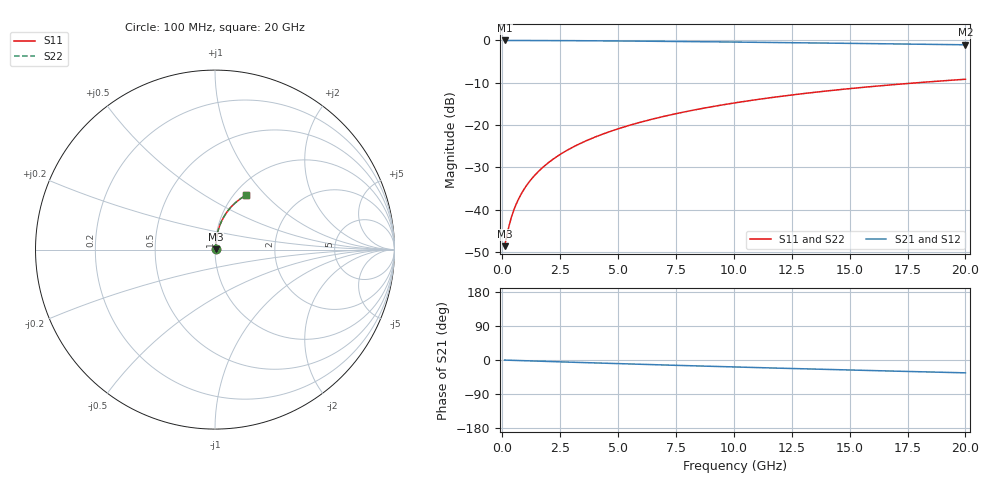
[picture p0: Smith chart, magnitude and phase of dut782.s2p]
! Touchstone file exported from HFSS 2024.1.0
!  File:  C:/UserFiles/LocalFiles/RDL_TSV_Batchsim/temp_RDL_bottom_782_1779861136.aedt
!  Generated:  01:54:34 PM May 27, 2026
!  Design:  RDL_bottom
!  Project:  temp_RDL_bottom_782_1779861136
!  Setup:  Setup1
!  Solution:  Sweep
! Variables:
!  dtsv = 10.80580581um
!  hbump = 3um
!  htsv = 61.7um
!  ldown = 472.21um
!  lrdl = 100um
!  p = 40
!  p1 = 41.69um
!  rhole = 1um
!  t = 450um
!  tdown = 3.41um
!  trdl = 3.915915916um
!  wdown = 16.3um
!  wrdl = 20um
# GHz S MA R 50.000000
! Terminal data exported
! Port[1] = RDL1_T1
! Port[2] = RDL1_T2
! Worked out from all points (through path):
!   200 points, 100 MHz to 20 GHz, reference 50 ohm
!   highest |S21| = -0.03 dB at 100 MHz (marker M1); lowest = -1.1 dB at 20 GHz (marker M2)
!   group delay of S21, straight-line fit = 4.69 ps
!   lowest |S11| = -48.6 dB at 100 MHz (marker M3), VSWR 1.01, Z = 50.3 + j0.194 ohm
!   |S11| at or under -10 dB: start of sweep to 17.96 GHz
!   |S22| runs from -48.6 to -9.2 dB; largest |S21 - S12| = 3.5e-15
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0.1  0.003698 31.3  0.9968 -0.2  0.9968 -0.2  0.003698 31.3
! Gamma 0 0 0 0
! Port Impedance 50 0 50 0
0.2  0.00501 49.5  0.9967 -0.4  0.9967 -0.4  0.00501 49.5
0.3  0.00658 59.2  0.9966 -0.6  0.9966 -0.6  0.00658 59.2
0.4  0.00823 64.9  0.9965 -0.8  0.9965 -0.8  0.00823 64.9
0.5  0.009907 68.6  0.9963 -1.0  0.9963 -1.0  0.009907 68.6
0.6  0.0116 71.3  0.9962 -1.2  0.9962 -1.2  0.0116 71.3
0.8  0.01501 74.9  0.9959 -1.6  0.9959 -1.6  0.01501 74.9
1.1  0.02019 78.1  0.9955 -2.2  0.9955 -2.2  0.02019 78.1
1.3  0.02367 79.4  0.9952 -2.6  0.9952 -2.6  0.02367 79.4
1.6  0.02894 80.7  0.9947 -3.1  0.9947 -3.1  0.02894 80.7
2.1  0.03778 81.8  0.9937 -4.1  0.9937 -4.1  0.03778 81.8
2.7  0.04847 82.4  0.9921 -5.3  0.9921 -5.3  0.04847 82.4
3.5  0.06284 82.5  0.9895 -6.8  0.9895 -6.8  0.06284 82.5
4.2  0.07551 82.2  0.9868 -8.1  0.9868 -8.1  0.07551 82.2
5  0.09008 81.6  0.9833 -9.6  0.9833 -9.6  0.09008 81.6
5.9  0.1066 80.8  0.9789 -11.2  0.9789 -11.2  0.1066 80.8
6.8  0.1231 79.8  0.9741 -12.8  0.9741 -12.8  0.1231 79.8
8.4  0.1525 77.7  0.9648 -15.6  0.9648 -15.6  0.1525 77.7
10.1  0.1835 75.3  0.9542 -18.5  0.9542 -18.5  0.1835 75.3
13.4  0.2418 70.4  0.9324 -23.9  0.9324 -23.9  0.2418 70.4
16.7  0.2965 65.4  0.9095 -29.0  0.9095 -29.0  0.2965 65.4
20  0.3468 60.5  0.8859 -33.9  0.8859 -33.9  0.3468 60.5
